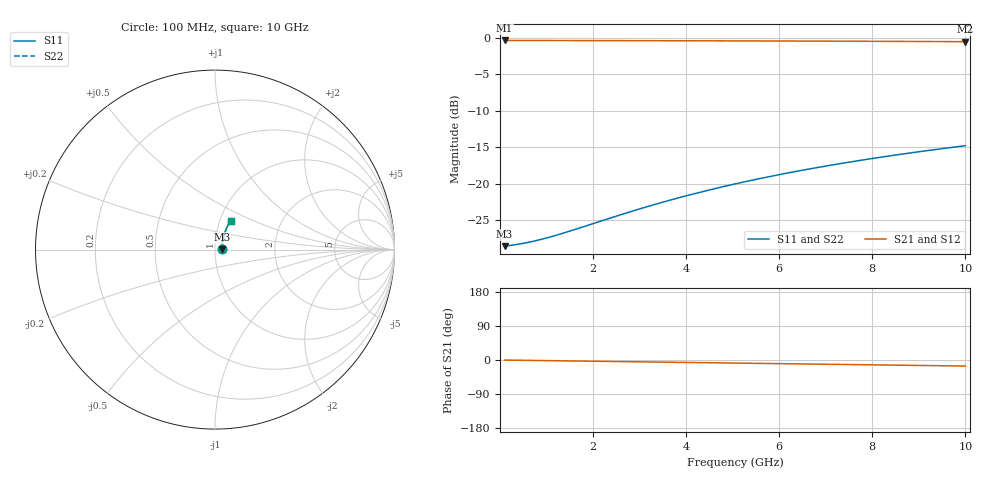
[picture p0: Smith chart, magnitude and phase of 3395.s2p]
# Hz S RI R 50.00
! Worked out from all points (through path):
!   100 points, 100 MHz to 10 GHz, reference 50 ohm
!   highest |S21| = -0.33 dB at 100 MHz (marker M1); lowest = -0.5 dB at 10 GHz (marker M2)
!   group delay of S21, straight-line fit = 4.43 ps
!   lowest |S11| = -28.6 dB at 100 MHz (marker M3), VSWR 1.08, Z = 53.9 + j0.186 ohm
!   |S11| at or under -10 dB: start of sweep to end of sweep
!   |S22| runs from -28.6 to -14.8 dB; largest |S21 - S12| = 0
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1e8  0.0373 0.00173  0.9627 -0.00271  0.9627 -0.00271  0.0373 0.00173
3e8  0.0378 0.00517  0.9622 -0.00812  0.9622 -0.00812  0.0378 0.00517
5e8  0.0381 0.00861  0.9619 -0.0135  0.9619 -0.0135  0.0381 0.00861
8e8  0.0386 0.0138  0.9614 -0.0216  0.9614 -0.0216  0.0386 0.0138
1e9  0.0389 0.0172  0.961 -0.027  0.961 -0.027  0.0389 0.0172
1.2e9  0.0392 0.0206  0.9607 -0.0324  0.9607 -0.0324  0.0392 0.0206
1.5e9  0.0398 0.0258  0.9601 -0.0405  0.9601 -0.0405  0.0398 0.0258
1.8e9  0.0404 0.0309  0.9594 -0.0486  0.9594 -0.0486  0.0404 0.0309
2.7e9  0.0427 0.0461  0.9569 -0.0727  0.9569 -0.0727  0.0427 0.0461
3.1e9  0.0439 0.0529  0.9556 -0.0834  0.9556 -0.0834  0.0439 0.0529
3.4e9  0.045 0.0579  0.9544 -0.0914  0.9544 -0.0914  0.045 0.0579
3.8e9  0.0465 0.0646  0.9528 -0.102  0.9528 -0.102  0.0465 0.0646
4.2e9  0.0481 0.0712  0.951 -0.1126  0.951 -0.1126  0.0481 0.0712
4.6e9  0.0499 0.0778  0.9491 -0.1231  0.9491 -0.1231  0.0499 0.0778
5.1e9  0.0523 0.086  0.9464 -0.1362  0.9464 -0.1362  0.0523 0.086
5.5e9  0.0543 0.0925  0.9441 -0.1466  0.9441 -0.1466  0.0543 0.0925
5.9e9  0.0566 0.0989  0.9417 -0.157  0.9417 -0.157  0.0566 0.0989
6.7e9  0.0614 0.1115  0.9363 -0.1775  0.9363 -0.1775  0.0614 0.1115
7.5e9  0.0668 0.1239  0.9304 -0.1978  0.9304 -0.1978  0.0668 0.1239
8.4e9  0.0735 0.1375  0.923 -0.2202  0.923 -0.2202  0.0735 0.1375
9.2e9  0.0799 0.1492  0.9158 -0.2398  0.9158 -0.2398  0.0799 0.1492
1e10  0.0869 0.1606  0.9081 -0.2591  0.9081 -0.2591  0.0869 0.1606
